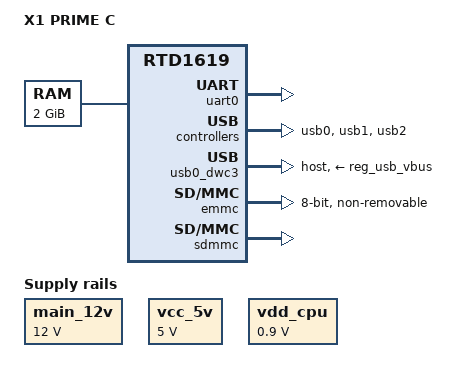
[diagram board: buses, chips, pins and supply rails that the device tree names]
// SPDX-License-Identifier: (GPL-2.0-or-later OR BSD-2-Clause)
/*
 * @sib0ndt
 */

/dts-v1/;

#include "rtd1619.dtsi"

/ {
	compatible = "realtek,mjolnir", "realtek,rtd1619";
	model = "X1 PRIME C";

	memory@200000 {
		device_type = "memory";
		reg = <0x200000 0x7fe00000>; /* ~ 2GB */
	};

	reserved-memory {
		#address-cells = <1>;
		#size-cells = <1>;
		ranges;

		/*
		 * TZC-400 Secure heap regions.
		 * BL31/OPTEE configures TZC-400 to protect these regions
		 * at hardware level. Writes are silently dropped, reads
		 * return 0x00. Verified exact boundaries via U-Boot mw/md:
		 *   0x303e0000 → writable (OK)
		 *   0x303f0000 → blocked  (TZC-400 start)
		 *   0x45000000 → blocked
		 *   0x45700000 → writable (TZC-400 end)
		 * Matches Android TV ion secure heap layout:
		 *   Secure @ 0x303f0000 (34MB)
		 *   Secure @ 0x32800000 (2MB)
		 *   Secure @ 0x32b00000 (213MB)
		 *   Secure @ 0x40000000 (87MB)  → ends at 0x456fffff
		 */
		secure_heaps: secure@303f0000 {
			reg = <0x303f0000 0x15310000>; /* 325MB: 0x303f0000-0x456fffff */
			no-map;
		};
	};


	chosen {
		stdout-path = "serial0:115200n8";
	};

	aliases {
		serial0 = &uart0;
		serial1 = &uart1;
		serial2 = &uart2;
		ethernet0 = &nic;
	};

	/* --- Power Regulator Tree --- */
	main_12v: regulator-main_12v {
		compatible = "regulator-fixed";
		regulator-name = "12V";
		regulator-min-microvolt = <12000000>;
		regulator-max-microvolt = <12000000>;
		regulator-always-on;
	};

	vcc_5v: regulator-vcc_5v {
		compatible = "regulator-fixed";
		regulator-name = "VCC_5V";
		regulator-min-microvolt = <5000000>;
		regulator-max-microvolt = <5000000>;
		regulator-always-on;
	};

	vdd_cpu: regulator-vdd-cpu {
		compatible = "regulator-fixed";
		regulator-name = "VDD_CPU";
		regulator-min-microvolt = <900000>;
		regulator-max-microvolt = <900000>;
		regulator-always-on;
	};
};

/* Biarkan reg_usb_vbus mandiri agar tidak terjadi deferred probe */
&reg_usb_vbus {
	regulator-always-on;
};

/* --- Menerapkan Regulator ke CPU --- */
&cpu0 {
	cpu-supply = <&vdd_cpu>;
};

&cpu1 {
	cpu-supply = <&vdd_cpu>;
};

&cpu2 {
	cpu-supply = <&vdd_cpu>;
};

&cpu3 {
	cpu-supply = <&vdd_cpu>;
};

&cpu4 {
	cpu-supply = <&vdd_cpu>;
};

&cpu5 {
	cpu-supply = <&vdd_cpu>;
};

/* debug console (J1) */
&uart0 {
	status = "okay";
};

/* M.2 slot (CON4) */
&uart1 {
	status = "disabled";
};

&uart2 {
	status = "disabled";
};

&usb0 {
	status = "okay";
};

&usb0_dwc3 {
	dr_mode = "host";
	maximum-speed = "super-speed";
	vbus-supply = <&reg_usb_vbus>;
};

&usb1 {
	status = "okay";
	usb@98029000 {
		vbus-supply = <&reg_usb_vbus>;
	};
};

&usb2 {
	status = "okay";
	usb@98050000 {
		vbus-supply = <&reg_usb_vbus>;
	};
};

&pwm {
	status = "disabled";
};

&emmc {
	status = "okay";
	bus-width = <8>;
	non-removable;
	disable-wp;
	cap-mmc-highspeed;

	slot@0 {
		reg = <0>;
		bus-width = <8>;
	};
};

&sdmmc {
	status = "okay";
};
